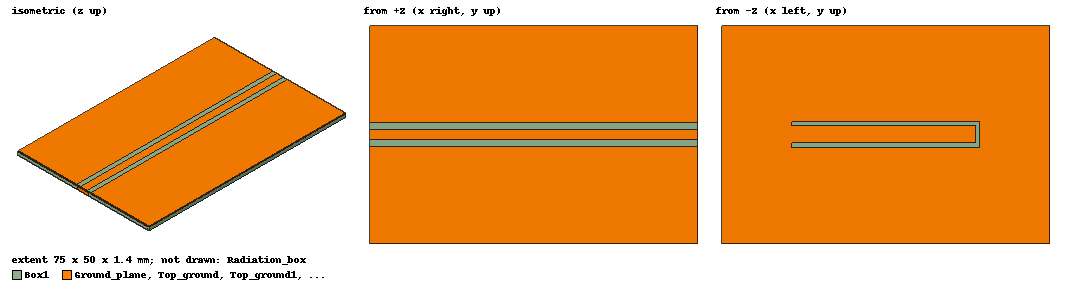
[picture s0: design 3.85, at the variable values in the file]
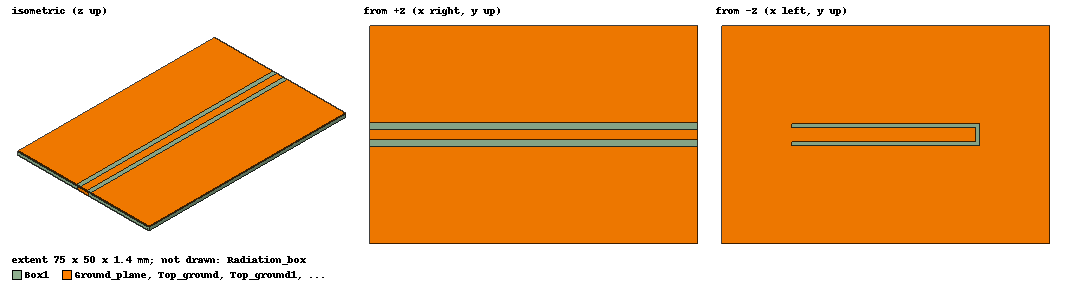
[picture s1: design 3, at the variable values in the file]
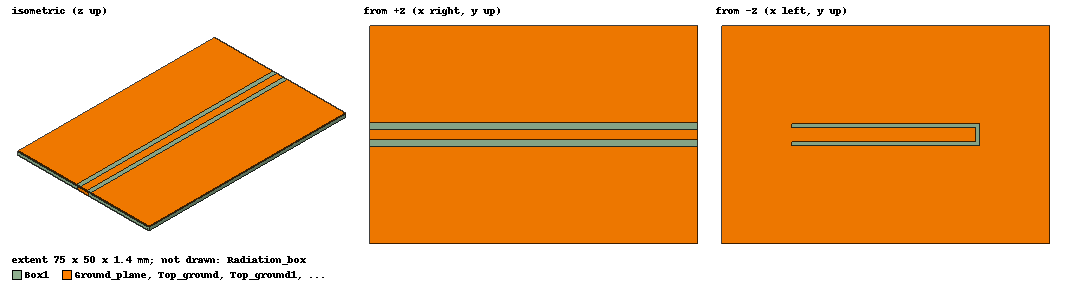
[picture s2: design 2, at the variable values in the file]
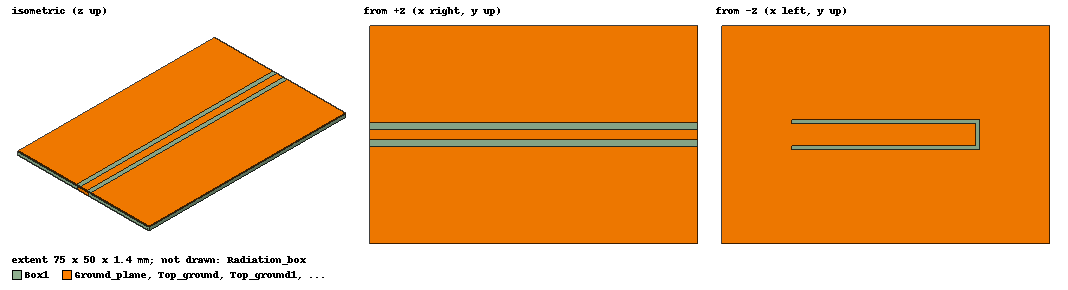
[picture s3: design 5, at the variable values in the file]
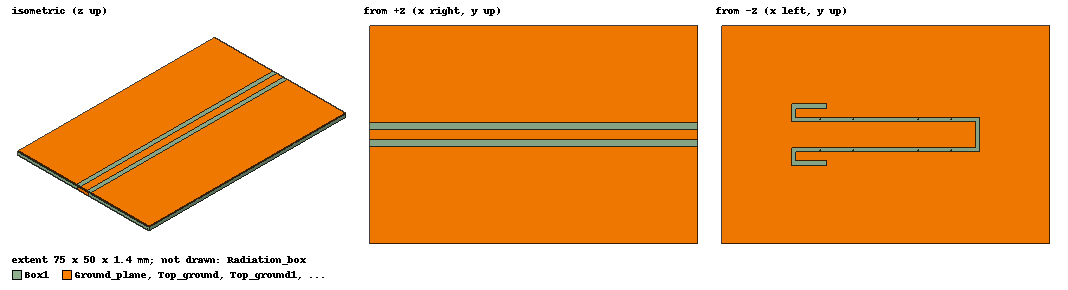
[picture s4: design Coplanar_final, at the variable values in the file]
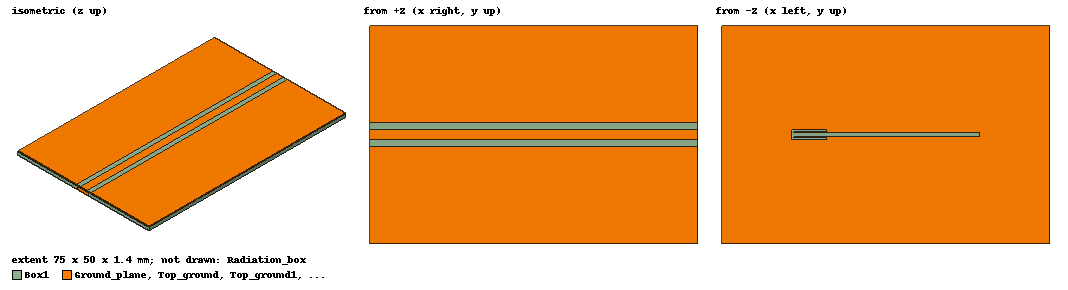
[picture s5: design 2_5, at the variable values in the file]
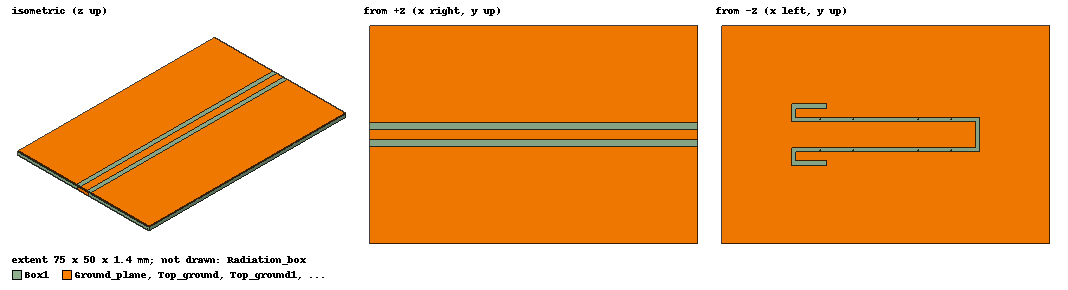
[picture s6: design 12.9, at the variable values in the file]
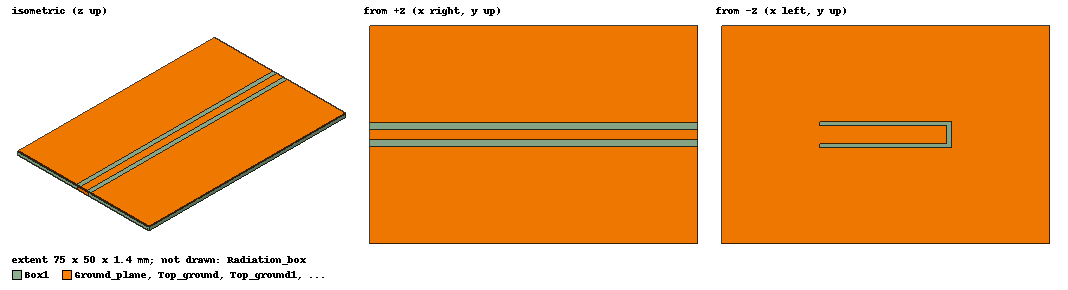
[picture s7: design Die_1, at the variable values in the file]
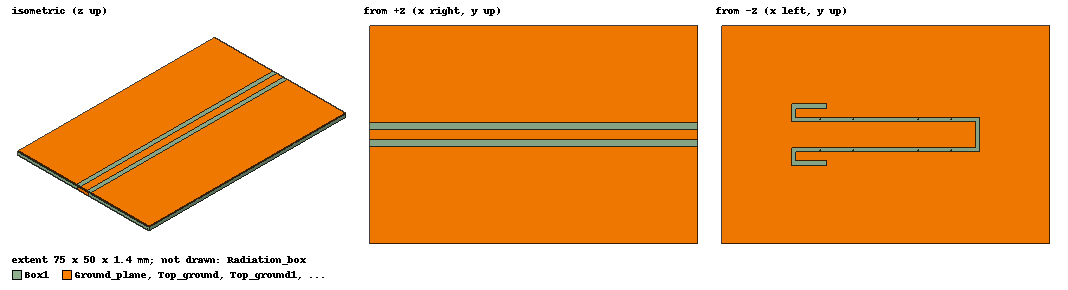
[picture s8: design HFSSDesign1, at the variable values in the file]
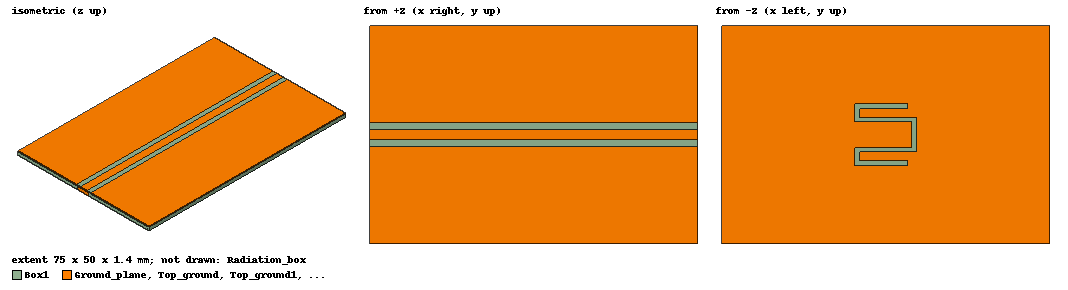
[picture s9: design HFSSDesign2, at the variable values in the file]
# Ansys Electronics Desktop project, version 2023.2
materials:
  vacuum: permittivity=1
  FR4_epoxy: permittivity=4.4 dielectric_loss_tangent=0.02
  air: permittivity=1.0006 permeability=1.0000004
  copper: permeability=0.999991 conductivity=58000000
  gallium_arsenide: permittivity=12.9
  aluminum: permeability=1.000021 conductivity=38000000
  Teflon (tm): permittivity=2.1 dielectric_loss_tangent=0.001
  Polyflon CuFlon (tm): permittivity=2.1 dielectric_loss_tangent=0.00045
  Arlon AD255C (tm): permittivity=2.55 dielectric_loss_tangent=0.0014
  Rogers RO3203 (tm): permittivity=3.02 dielectric_loss_tangent=0.0016
  Rogers RT/duroid 6006 (tm): permittivity=6.15 dielectric_loss_tangent=0.0019
  Rogers TMM 10 (tm): permittivity=9.2 dielectric_loss_tangent=0.0022
  NdFe35: permittivity=1 permeability=1.0997785 conductivity=625000 magnetic_coercivity{Magnitude=-890000A_per_meter DirComp1=1 DirComp2=0 DirComp3=0} lande_g_factor=2
  Rogers RT/duroid 6010/6010LM (tm): permittivity=10.2 dielectric_loss_tangent=0.0023
  silicon: permittivity=11.9
  diamond: permittivity=16.5

design 3.85 (HFSS, HFSS Terminal Network, model units mm)
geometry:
  Box1 [FR4_epoxy] = box(corner=(-37.5mm, -25mm, 0mm), size=(75mm, 50mm, 1.4mm))
  Microstrip_line = rectangle(corner=(-37.5mm, -1.25mm, 1.4mm), x_size=75mm, y_size=2.5mm)
  Top_ground = rectangle(corner=(-37.5mm, -25mm, 1.4mm), x_size=75mm, y_size=22.25mm)
  Top_ground1 = rectangle(corner=(-37.5mm, 2.75mm, 1.4mm), x_size=75mm, y_size=22.25mm)
  Ground_plane = rectangle(corner=(-37.5mm, -25mm, 0mm), x_size=75mm, y_size=50mm)
  Rectangle1 = rectangle(corner=(-21.5mm, -1.9mm, 0mm), x_size=43mm, y_size=-1mm)
  Rectangle2 = rectangle(corner=(-21.5mm, 1.95mm, 0mm), x_size=43mm, y_size=1mm)
  Rectangle3 = rectangle(corner=(-21.5mm, -1.95mm, 0mm), x_size=1mm, y_size=3.9mm)
  Ground_plane.subtract(Rectangle1, Rectangle2, Rectangle3)
  Radiation_box [air] = box(corner=(-60mm, -45mm, -10mm), size=(125mm, 90mm, 35mm))
  Via0 [copper] = cylinder(axis=Z, base_centre=(-7.5mm, 3.5mm, 0mm), radius=0.1mm, height=1.4mm)
  Via1 [copper] = cylinder(axis=Z, base_centre=(-7.5mm, -3.5mm, 0mm), radius=0.1mm, height=1.4mm)
  Via2 [copper] = cylinder(axis=Z, base_centre=(-15mm, 3.5mm, 0mm), radius=0.1mm, height=1.4mm)
  Via3 [copper] = cylinder(axis=Z, base_centre=(-15mm, -3.5mm, 0mm), radius=0.1mm, height=1.4mm)
  Via4 [copper] = cylinder(axis=Z, base_centre=(-22.5mm, 3.5mm, 0mm), radius=0.1mm, height=1.4mm)
  Via5 [copper] = cylinder(axis=Z, base_centre=(-22.5mm, -3.5mm, 0mm), radius=0.1mm, height=1.4mm)
  Via6 [copper] = cylinder(axis=Z, base_centre=(-30mm, 3.5mm, 0mm), radius=0.1mm, height=1.4mm)
  Via7 [copper] = cylinder(axis=Z, base_centre=(-30mm, -3.5mm, 0mm), radius=0.1mm, height=1.4mm)
  Via8 [copper] = cylinder(axis=Z, base_centre=(0mm, 3.5mm, 0mm), radius=0.1mm, height=1.4mm)
  Via9 [copper] = cylinder(axis=Z, base_centre=(0mm, -3.5mm, 0mm), radius=0.1mm, height=1.4mm)
  Via10 [copper] = cylinder(axis=Z, base_centre=(7.5mm, 3.5mm, 0mm), radius=0.1mm, height=1.4mm)
  Via11 [copper] = cylinder(axis=Z, base_centre=(7.5mm, -3.5mm, 0mm), radius=0.1mm, height=1.4mm)
  Via12 [copper] = cylinder(axis=Z, base_centre=(15mm, 3.5mm, 0mm), radius=0.1mm, height=1.4mm)
  Via13 [copper] = cylinder(axis=Z, base_centre=(15mm, -3.5mm, 0mm), radius=0.1mm, height=1.4mm)
  Via14 [copper] = cylinder(axis=Z, base_centre=(22.5mm, 3.5mm, 0mm), radius=0.1mm, height=1.4mm)
  Via15 [copper] = cylinder(axis=Z, base_centre=(22.5mm, -3.5mm, 0mm), radius=0.1mm, height=1.4mm)
  Via16 [copper] = cylinder(axis=Z, base_centre=(30mm, 3.5mm, 0mm), radius=0.1mm, height=1.4mm)
  Via17 [copper] = cylinder(axis=Z, base_centre=(30mm, -3.5mm, 0mm), radius=0.1mm, height=1.4mm)
  Port1 = rectangle(corner=(-37.5mm, -2mm, 1.4mm), y_size=4mm, z_size=-1.4mm)
  Port2 = rectangle(corner=(37.5mm, -2mm, 1.4mm), y_size=4mm, z_size=-1.4mm)
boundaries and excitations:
  PerfE1: Perfect E Objects=Ground_plane
  PerfE2: Perfect E Objects=[Microstrip_line, Top_ground, Top_ground1]
  Rad1: Radiation Objects=Radiation_box
  1: Lumped Port Objects=Port1 LumpedPortType=Modal Modes{Mode1{IntLine{(-37.5, 0, 0) -> (-37.5, 0, 1.4)} CharImp=Zpi RenormImp=50ohm}} Impedance=50ohm
  2: Lumped Port Objects=Port2 LumpedPortType=Modal Modes{Mode1{IntLine{(37.5, 0, 0) -> (37.5, 0, 1.4)} CharImp=Zpi RenormImp=50ohm}} Impedance=50ohm
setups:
  Setup1: HfssDriven Frequency=1GHz MaxDeltaS=0.02 MaximumPasses=6 MinimumPasses=1 MinimumConvergedPasses=1 PercentRefinement=30 BasisOrder=1 PortAccuracy=2 DrivenSolverType="Direct Solver"
    sweep Sweep: 0.1GHz to 1.5GHz, 901 points; Type=Fast SaveFields
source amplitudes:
  1:1: 1V 0deg
  2:1: 0V 0deg
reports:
  S Parameter Plot 1: dB(S(1,1)), dB(S(2,1)), dB(S(1,2)), dB(S(2,2)) vs Freq on Setup1 : Sweep; markers m1 at 0.96644444GHz, m2 at 1.0831111GHz

design 3 (HFSS, HFSS Terminal Network, model units mm)
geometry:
  Box1 [FR4_epoxy] = box(corner=(-37.5mm, -25mm, 0mm), size=(75mm, 50mm, 1.4mm))
  Microstrip_line = rectangle(corner=(-37.5mm, -1.25mm, 1.4mm), x_size=75mm, y_size=2.5mm)
  Top_ground = rectangle(corner=(-37.5mm, -25mm, 1.4mm), x_size=75mm, y_size=22.25mm)
  Top_ground1 = rectangle(corner=(-37.5mm, 2.75mm, 1.4mm), x_size=75mm, y_size=22.25mm)
  Ground_plane = rectangle(corner=(-37.5mm, -25mm, 0mm), x_size=75mm, y_size=50mm)
  Rectangle1 = rectangle(corner=(-21.5mm, -1.5mm, 0mm), x_size=43mm, y_size=-1mm)
  Rectangle2 = rectangle(corner=(-21.5mm, 1.5mm, 0mm), x_size=43mm, y_size=1mm)
  Rectangle3 = rectangle(corner=(-21.5mm, -1.5mm, 0mm), x_size=1mm, y_size=3mm)
  Ground_plane.subtract(Rectangle1, Rectangle2, Rectangle3)
  Radiation_box [air] = box(corner=(-60mm, -45mm, -10mm), size=(125mm, 90mm, 35mm))
  Via0 [copper] = cylinder(axis=Z, base_centre=(-7.5mm, 3.5mm, 0mm), radius=0.1mm, height=1.4mm)
  Via1 [copper] = cylinder(axis=Z, base_centre=(-7.5mm, -3.5mm, 0mm), radius=0.1mm, height=1.4mm)
  Via2 [copper] = cylinder(axis=Z, base_centre=(-15mm, 3.5mm, 0mm), radius=0.1mm, height=1.4mm)
  Via3 [copper] = cylinder(axis=Z, base_centre=(-15mm, -3.5mm, 0mm), radius=0.1mm, height=1.4mm)
  Via4 [copper] = cylinder(axis=Z, base_centre=(-22.5mm, 3.5mm, 0mm), radius=0.1mm, height=1.4mm)
  Via5 [copper] = cylinder(axis=Z, base_centre=(-22.5mm, -3.5mm, 0mm), radius=0.1mm, height=1.4mm)
  Via6 [copper] = cylinder(axis=Z, base_centre=(-30mm, 3.5mm, 0mm), radius=0.1mm, height=1.4mm)
  Via7 [copper] = cylinder(axis=Z, base_centre=(-30mm, -3.5mm, 0mm), radius=0.1mm, height=1.4mm)
  Via8 [copper] = cylinder(axis=Z, base_centre=(0mm, 3.5mm, 0mm), radius=0.1mm, height=1.4mm)
  Via9 [copper] = cylinder(axis=Z, base_centre=(0mm, -3.5mm, 0mm), radius=0.1mm, height=1.4mm)
  Via10 [copper] = cylinder(axis=Z, base_centre=(7.5mm, 3.5mm, 0mm), radius=0.1mm, height=1.4mm)
  Via11 [copper] = cylinder(axis=Z, base_centre=(7.5mm, -3.5mm, 0mm), radius=0.1mm, height=1.4mm)
  Via12 [copper] = cylinder(axis=Z, base_centre=(15mm, 3.5mm, 0mm), radius=0.1mm, height=1.4mm)
  Via13 [copper] = cylinder(axis=Z, base_centre=(15mm, -3.5mm, 0mm), radius=0.1mm, height=1.4mm)
  Via14 [copper] = cylinder(axis=Z, base_centre=(22.5mm, 3.5mm, 0mm), radius=0.1mm, height=1.4mm)
  Via15 [copper] = cylinder(axis=Z, base_centre=(22.5mm, -3.5mm, 0mm), radius=0.1mm, height=1.4mm)
  Via16 [copper] = cylinder(axis=Z, base_centre=(30mm, 3.5mm, 0mm), radius=0.1mm, height=1.4mm)
  Via17 [copper] = cylinder(axis=Z, base_centre=(30mm, -3.5mm, 0mm), radius=0.1mm, height=1.4mm)
  Port1 = rectangle(corner=(-37.5mm, -2mm, 1.4mm), y_size=4mm, z_size=-1.4mm)
  Port2 = rectangle(corner=(37.5mm, -2mm, 1.4mm), y_size=4mm, z_size=-1.4mm)
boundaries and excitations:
  PerfE1: Perfect E Objects=Ground_plane
  PerfE2: Perfect E Objects=[Microstrip_line, Top_ground, Top_ground1]
  Rad1: Radiation Objects=Radiation_box
  1: Lumped Port Objects=Port1 LumpedPortType=Modal Modes{Mode1{IntLine{(-37.5, 0, 0) -> (-37.5, 0, 1.4)} CharImp=Zpi RenormImp=50ohm}} Impedance=50ohm
  2: Lumped Port Objects=Port2 LumpedPortType=Modal Modes{Mode1{IntLine{(37.5, 0, 0) -> (37.5, 0, 1.4)} CharImp=Zpi RenormImp=50ohm}} Impedance=50ohm
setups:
  Setup1: HfssDriven Frequency=1GHz MaxDeltaS=0.02 MaximumPasses=6 MinimumPasses=1 MinimumConvergedPasses=1 PercentRefinement=30 BasisOrder=1 PortAccuracy=2 DrivenSolverType="Direct Solver"
    sweep Sweep: 0.1GHz to 1.5GHz, 901 points; Type=Fast SaveFields
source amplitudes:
  1:1: 1V 0deg
  2:1: 0V 0deg
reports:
  S Parameter Plot 1: dB(S(1,1)), dB(S(2,1)), dB(S(1,2)), dB(S(2,2)) vs Freq on Setup1 : Sweep; markers m1 at 0.98044444GHz, m2 at 1.0877778GHz

design 2 (HFSS, HFSS Terminal Network, model units mm)
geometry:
  Box1 [FR4_epoxy] = box(corner=(-37.5mm, -25mm, 0mm), size=(75mm, 50mm, 1.4mm))
  Ground_plane = rectangle(corner=(-37.5mm, -25mm, 0mm), x_size=75mm, y_size=50mm)
  Rectangle1 = rectangle(corner=(-21.5mm, -1.5mm, 0mm), x_size=43mm, y_size=-1mm)
  Rectangle2 = rectangle(corner=(-21.5mm, 1.5mm, 0mm), x_size=43mm, y_size=1mm)
  Rectangle3 = rectangle(corner=(-21.5mm, -1.5mm, 0mm), x_size=1mm, y_size=3mm)
  Ground_plane.subtract(Rectangle1, Rectangle2, Rectangle3)
  Radiation_box [air] = box(corner=(-60mm, -45mm, -10mm), size=(125mm, 90mm, 35mm))
  Via0 [copper] = cylinder(axis=Z, base_centre=(-7.5mm, 3.5mm, 0mm), radius=0.1mm, height=1.4mm)
  Via1 [copper] = cylinder(axis=Z, base_centre=(-7.5mm, -3.5mm, 0mm), radius=0.1mm, height=1.4mm)
  Via2 [copper] = cylinder(axis=Z, base_centre=(-15mm, 3.5mm, 0mm), radius=0.1mm, height=1.4mm)
  Via3 [copper] = cylinder(axis=Z, base_centre=(-15mm, -3.5mm, 0mm), radius=0.1mm, height=1.4mm)
  Via4 [copper] = cylinder(axis=Z, base_centre=(-22.5mm, 3.5mm, 0mm), radius=0.1mm, height=1.4mm)
  Via5 [copper] = cylinder(axis=Z, base_centre=(-22.5mm, -3.5mm, 0mm), radius=0.1mm, height=1.4mm)
  Via6 [copper] = cylinder(axis=Z, base_centre=(-30mm, 3.5mm, 0mm), radius=0.1mm, height=1.4mm)
  Via7 [copper] = cylinder(axis=Z, base_centre=(-30mm, -3.5mm, 0mm), radius=0.1mm, height=1.4mm)
  Via8 [copper] = cylinder(axis=Z, base_centre=(0mm, 3.5mm, 0mm), radius=0.1mm, height=1.4mm)
  Via9 [copper] = cylinder(axis=Z, base_centre=(0mm, -3.5mm, 0mm), radius=0.1mm, height=1.4mm)
  Via10 [copper] = cylinder(axis=Z, base_centre=(7.5mm, 3.5mm, 0mm), radius=0.1mm, height=1.4mm)
  Via11 [copper] = cylinder(axis=Z, base_centre=(7.5mm, -3.5mm, 0mm), radius=0.1mm, height=1.4mm)
  Via12 [copper] = cylinder(axis=Z, base_centre=(15mm, 3.5mm, 0mm), radius=0.1mm, height=1.4mm)
  Via13 [copper] = cylinder(axis=Z, base_centre=(15mm, -3.5mm, 0mm), radius=0.1mm, height=1.4mm)
  Via14 [copper] = cylinder(axis=Z, base_centre=(22.5mm, 3.5mm, 0mm), radius=0.1mm, height=1.4mm)
  Via15 [copper] = cylinder(axis=Z, base_centre=(22.5mm, -3.5mm, 0mm), radius=0.1mm, height=1.4mm)
  Via16 [copper] = cylinder(axis=Z, base_centre=(30mm, 3.5mm, 0mm), radius=0.1mm, height=1.4mm)
  Via17 [copper] = cylinder(axis=Z, base_centre=(30mm, -3.5mm, 0mm), radius=0.1mm, height=1.4mm)
  Microstrip_line = rectangle(corner=(-37.5mm, -1.25mm, 1.4mm), x_size=75mm, y_size=2.5mm)
  Top_ground = rectangle(corner=(-37.5mm, -25mm, 1.4mm), x_size=75mm, y_size=22.25mm)
  Top_ground1 = rectangle(corner=(-37.5mm, 2.75mm, 1.4mm), x_size=75mm, y_size=22.25mm)
  Port1 = rectangle(corner=(-37.5mm, -2mm, 1.4mm), y_size=4mm, z_size=-1.4mm)
  Port2 = rectangle(corner=(37.5mm, -2mm, 1.4mm), y_size=4mm, z_size=-1.4mm)
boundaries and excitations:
  PerfE1: Perfect E Objects=Ground_plane
  Rad1: Radiation Objects=Radiation_box
  PerfE2: Perfect E Objects=[Microstrip_line, Top_ground, Top_ground1]
  1: Lumped Port Objects=Port1 LumpedPortType=Modal Modes{Mode1{IntLine{(-37.5, 0, 0) -> (-37.5, 0, 1.4)} CharImp=Zpi RenormImp=50ohm}} Impedance=50ohm
  2: Lumped Port Objects=Port2 LumpedPortType=Modal Modes{Mode1{IntLine{(37.5, 0, 0) -> (37.5, 0, 1.4)} CharImp=Zpi RenormImp=50ohm}} Impedance=50ohm
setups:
  Setup1: HfssDriven Frequency=1GHz MaxDeltaS=0.02 MaximumPasses=6 MinimumPasses=1 MinimumConvergedPasses=1 PercentRefinement=30 BasisOrder=1 PortAccuracy=2 DrivenSolverType="Direct Solver"
    sweep Sweep: 0.1GHz to 1.5GHz, 901 points; Type=Fast SaveFields
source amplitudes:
  1:1: 1V 0deg
  2:1: 0V 0deg
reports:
  S Parameter Plot 1: dB(S(1,1)), dB(S(2,1)), dB(S(1,2)), dB(S(2,2)) vs Freq on Setup1 : Sweep; markers m1 at 0.97888889GHz, m2 at 1.0862222GHz

design 5 (HFSS, HFSS Terminal Network, model units mm)
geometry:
  Box1 [FR4_epoxy] = box(corner=(-37.5mm, -25mm, 0mm), size=(75mm, 50mm, 1.4mm))
  Via0 [copper] = cylinder(axis=Z, base_centre=(-7.5mm, 3.5mm, 0mm), radius=0.1mm, height=1.4mm)
  Via1 [copper] = cylinder(axis=Z, base_centre=(-7.5mm, -3.5mm, 0mm), radius=0.1mm, height=1.4mm)
  Via2 [copper] = cylinder(axis=Z, base_centre=(-15mm, 3.5mm, 0mm), radius=0.1mm, height=1.4mm)
  Via3 [copper] = cylinder(axis=Z, base_centre=(-15mm, -3.5mm, 0mm), radius=0.1mm, height=1.4mm)
  Via4 [copper] = cylinder(axis=Z, base_centre=(-22.5mm, 3.5mm, 0mm), radius=0.1mm, height=1.4mm)
  Via5 [copper] = cylinder(axis=Z, base_centre=(-22.5mm, -3.5mm, 0mm), radius=0.1mm, height=1.4mm)
  Via6 [copper] = cylinder(axis=Z, base_centre=(-30mm, 3.5mm, 0mm), radius=0.1mm, height=1.4mm)
  Via7 [copper] = cylinder(axis=Z, base_centre=(-30mm, -3.5mm, 0mm), radius=0.1mm, height=1.4mm)
  Via8 [copper] = cylinder(axis=Z, base_centre=(0mm, 3.5mm, 0mm), radius=0.1mm, height=1.4mm)
  Via9 [copper] = cylinder(axis=Z, base_centre=(0mm, -3.5mm, 0mm), radius=0.1mm, height=1.4mm)
  Via10 [copper] = cylinder(axis=Z, base_centre=(7.5mm, 3.5mm, 0mm), radius=0.1mm, height=1.4mm)
  Via11 [copper] = cylinder(axis=Z, base_centre=(7.5mm, -3.5mm, 0mm), radius=0.1mm, height=1.4mm)
  Via12 [copper] = cylinder(axis=Z, base_centre=(15mm, 3.5mm, 0mm), radius=0.1mm, height=1.4mm)
  Via13 [copper] = cylinder(axis=Z, base_centre=(15mm, -3.5mm, 0mm), radius=0.1mm, height=1.4mm)
  Via14 [copper] = cylinder(axis=Z, base_centre=(22.5mm, 3.5mm, 0mm), radius=0.1mm, height=1.4mm)
  Via15 [copper] = cylinder(axis=Z, base_centre=(22.5mm, -3.5mm, 0mm), radius=0.1mm, height=1.4mm)
  Via16 [copper] = cylinder(axis=Z, base_centre=(30mm, 3.5mm, 0mm), radius=0.1mm, height=1.4mm)
  Via17 [copper] = cylinder(axis=Z, base_centre=(30mm, -3.5mm, 0mm), radius=0.1mm, height=1.4mm)
  Radiation_box [air] = box(corner=(-60mm, -45mm, -10mm), size=(125mm, 90mm, 35mm))
  Ground_plane = rectangle(corner=(-37.5mm, -25mm, 0mm), x_size=75mm, y_size=50mm)
  Rectangle1 = rectangle(corner=(-21.5mm, -2.5mm, 0mm), x_size=43mm, y_size=-1mm)
  Rectangle2 = rectangle(corner=(-21.5mm, 2.5mm, 0mm), x_size=43mm, y_size=1mm)
  Rectangle3 = rectangle(corner=(-21.5mm, -2.5mm, 0mm), x_size=1mm, y_size=5mm)
  Ground_plane.subtract(Rectangle1, Rectangle2, Rectangle3)
  Microstrip_line = rectangle(corner=(-37.5mm, -1.25mm, 1.4mm), x_size=75mm, y_size=2.5mm)
  Top_ground = rectangle(corner=(-37.5mm, -25mm, 1.4mm), x_size=75mm, y_size=22.25mm)
  Top_ground1 = rectangle(corner=(-37.5mm, 2.75mm, 1.4mm), x_size=75mm, y_size=22.25mm)
  Port1 = rectangle(corner=(-37.5mm, -2mm, 1.4mm), y_size=4mm, z_size=-1.4mm)
  Port2 = rectangle(corner=(37.5mm, -2mm, 1.4mm), y_size=4mm, z_size=-1.4mm)
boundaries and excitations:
  Rad1: Radiation Objects=Radiation_box
  PerfE1: Perfect E Objects=Ground_plane
  PerfE2: Perfect E Objects=[Microstrip_line, Top_ground, Top_ground1]
  1: Lumped Port Objects=Port1 LumpedPortType=Modal Modes{Mode1{IntLine{(-37.5, 0, 0) -> (-37.5, 0, 1.4)} CharImp=Zpi RenormImp=50ohm}} Impedance=50ohm
  2: Lumped Port Objects=Port2 LumpedPortType=Modal Modes{Mode1{IntLine{(37.5, 0, 0) -> (37.5, 0, 1.4)} CharImp=Zpi RenormImp=50ohm}} Impedance=50ohm
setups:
  Setup1: HfssDriven Frequency=1GHz MaxDeltaS=0.02 MaximumPasses=6 MinimumPasses=1 MinimumConvergedPasses=1 PercentRefinement=30 BasisOrder=1 PortAccuracy=2 DrivenSolverType="Direct Solver"
    sweep Sweep: 0.1GHz to 1.5GHz, 901 points; Type=Fast SaveFields
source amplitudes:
  1:1: 1V 0deg
  2:1: 0V 0deg
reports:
  S Parameter Plot 1: dB(S(1,1)), dB(S(2,1)), dB(S(1,2)), dB(S(2,2)) vs Freq on Setup1 : Sweep; markers m1 at 0.94622222GHz, m2 at 1.052GHz

design Coplanar_final (HFSS, HFSS Terminal Network, model units mm)
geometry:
  Ground_plane = rectangle(corner=(-37.5mm, -25mm, 0mm), x_size=75mm, y_size=50mm)
  Rectangle1 = rectangle(corner=(-21.5mm, -3mm, 0mm), x_size=43mm, y_size=-1mm)
  Rectangle2 = rectangle(corner=(-21.5mm, 3mm, 0mm), x_size=43mm, y_size=1mm)
  Rectangle3 = rectangle(corner=(-21.5mm, -3mm, 0mm), x_size=1mm, y_size=6mm)
  Ground_plane.subtract(Rectangle1, Rectangle2, Rectangle3)
  Microstrip_line = rectangle(corner=(-37.5mm, -1.25mm, 1.4mm), x_size=75mm, y_size=2.5mm)
  Top_ground = rectangle(corner=(-37.5mm, -25mm, 1.4mm), x_size=75mm, y_size=22.25mm)
  Top_ground1 = rectangle(corner=(-37.5mm, 2.75mm, 1.4mm), x_size=75mm, y_size=22.25mm)
  Port1 = rectangle(corner=(-37.5mm, -2mm, 1.4mm), y_size=4mm, z_size=-1.4mm)
  Port2 = rectangle(corner=(37.5mm, -2mm, 1.4mm), y_size=4mm, z_size=-1.4mm)
  Box1 [FR4_epoxy] = box(corner=(-37.5mm, -25mm, 0mm), size=(75mm, 50mm, 1.4mm))
  Via0 [copper] = cylinder(axis=Z, base_centre=(-7.5mm, 3.5mm, 0mm), radius=0.1mm, height=1.4mm)
  Via1 [copper] = cylinder(axis=Z, base_centre=(-7.5mm, -3.5mm, 0mm), radius=0.1mm, height=1.4mm)
  Via2 [copper] = cylinder(axis=Z, base_centre=(-15mm, 3.5mm, 0mm), radius=0.1mm, height=1.4mm)
  Via3 [copper] = cylinder(axis=Z, base_centre=(-15mm, -3.5mm, 0mm), radius=0.1mm, height=1.4mm)
  Via4 [copper] = cylinder(axis=Z, base_centre=(-22.5mm, 3.5mm, 0mm), radius=0.1mm, height=1.4mm)
  Via5 [copper] = cylinder(axis=Z, base_centre=(-22.5mm, -3.5mm, 0mm), radius=0.1mm, height=1.4mm)
  Via6 [copper] = cylinder(axis=Z, base_centre=(-30mm, 3.5mm, 0mm), radius=0.1mm, height=1.4mm)
  Via7 [copper] = cylinder(axis=Z, base_centre=(-30mm, -3.5mm, 0mm), radius=0.1mm, height=1.4mm)
  Via8 [copper] = cylinder(axis=Z, base_centre=(0mm, 3.5mm, 0mm), radius=0.1mm, height=1.4mm)
  Via9 [copper] = cylinder(axis=Z, base_centre=(0mm, -3.5mm, 0mm), radius=0.1mm, height=1.4mm)
  Via10 [copper] = cylinder(axis=Z, base_centre=(7.5mm, 3.5mm, 0mm), radius=0.1mm, height=1.4mm)
  Via11 [copper] = cylinder(axis=Z, base_centre=(7.5mm, -3.5mm, 0mm), radius=0.1mm, height=1.4mm)
  Via12 [copper] = cylinder(axis=Z, base_centre=(15mm, 3.5mm, 0mm), radius=0.1mm, height=1.4mm)
  Via13 [copper] = cylinder(axis=Z, base_centre=(15mm, -3.5mm, 0mm), radius=0.1mm, height=1.4mm)
  Via14 [copper] = cylinder(axis=Z, base_centre=(22.5mm, 3.5mm, 0mm), radius=0.1mm, height=1.4mm)
  Via15 [copper] = cylinder(axis=Z, base_centre=(22.5mm, -3.5mm, 0mm), radius=0.1mm, height=1.4mm)
  Via16 [copper] = cylinder(axis=Z, base_centre=(30mm, 3.5mm, 0mm), radius=0.1mm, height=1.4mm)
  Via17 [copper] = cylinder(axis=Z, base_centre=(30mm, -3.5mm, 0mm), radius=0.1mm, height=1.4mm)
  Radiation_box [air] = box(corner=(-60mm, -45mm, -10mm), size=(125mm, 90mm, 35mm))
  Rectangle4 = rectangle(corner=(21.5mm, -4mm, 0mm), x_size=-1mm, y_size=-2mm)
  Rectangle5 = rectangle(corner=(21.5mm, 4mm, 0mm), x_size=-1mm, y_size=2mm)
  Rectangle6 = rectangle(corner=(21.5mm, -6mm, 0mm), x_size=-8mm, y_size=-1mm)
  Rectangle7 = rectangle(corner=(21.5mm, 6mm, 0mm), x_size=-8mm, y_size=1mm)
  Ground_plane.subtract(Rectangle4..Rectangle7)
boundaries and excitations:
  PerfE1: Perfect E Objects=Ground_plane
  PerfE2: Perfect E Objects=[Microstrip_line, Top_ground, Top_ground1]
  Rad1: Radiation Objects=Radiation_box
  1: Lumped Port Objects=Port1 LumpedPortType=Modal Modes{Mode1{IntLine{(-37.5, 0, 0) -> (-37.5, 0, 1.4)} CharImp=Zpi RenormImp=50ohm}} Impedance=50ohm
  2: Lumped Port Objects=Port2 LumpedPortType=Modal Modes{Mode1{IntLine{(37.5, 0, 0) -> (37.5, 0, 1.4)} CharImp=Zpi RenormImp=50ohm}} Impedance=50ohm
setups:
  Setup1: HfssDriven Frequency=1GHz MaxDeltaS=0.02 MaximumPasses=6 MinimumPasses=1 MinimumConvergedPasses=1 PercentRefinement=30 BasisOrder=1 PortAccuracy=2 DrivenSolverType="Direct Solver"
    sweep Sweep: 0.1GHz to 1.5GHz, 401 points; Type=Fast SaveFields
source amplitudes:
  1:1: 1V 0deg
  2:1: 0V 0deg
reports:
  S Parameter Plot 1: dB(S(1,1)), dB(S(2,1)), dB(S(1,2)), dB(S(2,2)) vs Freq on Setup1 : Sweep; markers m1 at 0.513GHz, m2 at 0.891GHz, m3 at 0.9365GHz, m4 at 0.982GHz, m5 at 1.4055GHz

design 2_5 (HFSS, HFSS Terminal Network, model units mm)
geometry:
  Ground_plane = rectangle(corner=(-37.5mm, -25mm, 0mm), x_size=75mm, y_size=50mm)
  Rectangle1 = rectangle(corner=(-21.5mm, -0.1mm, 0mm), x_size=43mm, y_size=-0.4mm)
  Rectangle2 = rectangle(corner=(-21.5mm, 0.1mm, 0mm), x_size=43mm, y_size=0.4mm)
  Rectangle3 = rectangle(corner=(-21.5mm, -0.1mm, 0mm), x_size=0.4mm, y_size=0.2mm)
  Ground_plane.subtract(Rectangle1, Rectangle2, Rectangle3)
  Rectangle4 = rectangle(corner=(21.5mm, -0.5mm, 0mm), x_size=-0.4mm, y_size=-0.2mm)
  Rectangle5 = rectangle(corner=(21.5mm, 0.5mm, 0mm), x_size=-0.4mm, y_size=0.2mm)
  Rectangle6 = rectangle(corner=(21.5mm, -0.7mm, 0mm), x_size=-8mm, y_size=-0.4mm)
  Rectangle7 = rectangle(corner=(21.5mm, 0.7mm, 0mm), x_size=-8mm, y_size=0.4mm)
  Ground_plane.subtract(Rectangle4..Rectangle7)
  Microstrip_line = rectangle(corner=(-37.5mm, -1.25mm, 1.4mm), x_size=75mm, y_size=2.5mm)
  Top_ground = rectangle(corner=(-37.5mm, -25mm, 1.4mm), x_size=75mm, y_size=22.25mm)
  Top_ground1 = rectangle(corner=(-37.5mm, 2.75mm, 1.4mm), x_size=75mm, y_size=22.25mm)
  Port1 = rectangle(corner=(-37.5mm, -2mm, 1.4mm), y_size=4mm, z_size=-1.4mm)
  Port2 = rectangle(corner=(37.5mm, -2mm, 1.4mm), y_size=4mm, z_size=-1.4mm)
  Box1 [FR4_epoxy] = box(corner=(-37.5mm, -25mm, 0mm), size=(75mm, 50mm, 1.4mm))
  Via0 [copper] = cylinder(axis=Z, base_centre=(-7.5mm, 3.5mm, 0mm), radius=0.1mm, height=1.4mm)
  Via1 [copper] = cylinder(axis=Z, base_centre=(-7.5mm, -3.5mm, 0mm), radius=0.1mm, height=1.4mm)
  Via2 [copper] = cylinder(axis=Z, base_centre=(-15mm, 3.5mm, 0mm), radius=0.1mm, height=1.4mm)
  Via3 [copper] = cylinder(axis=Z, base_centre=(-15mm, -3.5mm, 0mm), radius=0.1mm, height=1.4mm)
  Via4 [copper] = cylinder(axis=Z, base_centre=(-22.5mm, 3.5mm, 0mm), radius=0.1mm, height=1.4mm)
  Via5 [copper] = cylinder(axis=Z, base_centre=(-22.5mm, -3.5mm, 0mm), radius=0.1mm, height=1.4mm)
  Via6 [copper] = cylinder(axis=Z, base_centre=(-30mm, 3.5mm, 0mm), radius=0.1mm, height=1.4mm)
  Via7 [copper] = cylinder(axis=Z, base_centre=(-30mm, -3.5mm, 0mm), radius=0.1mm, height=1.4mm)
  Via8 [copper] = cylinder(axis=Z, base_centre=(0mm, 3.5mm, 0mm), radius=0.1mm, height=1.4mm)
  Via9 [copper] = cylinder(axis=Z, base_centre=(0mm, -3.5mm, 0mm), radius=0.1mm, height=1.4mm)
  Via10 [copper] = cylinder(axis=Z, base_centre=(7.5mm, 3.5mm, 0mm), radius=0.1mm, height=1.4mm)
  Via11 [copper] = cylinder(axis=Z, base_centre=(7.5mm, -3.5mm, 0mm), radius=0.1mm, height=1.4mm)
  Via12 [copper] = cylinder(axis=Z, base_centre=(15mm, 3.5mm, 0mm), radius=0.1mm, height=1.4mm)
  Via13 [copper] = cylinder(axis=Z, base_centre=(15mm, -3.5mm, 0mm), radius=0.1mm, height=1.4mm)
  Via14 [copper] = cylinder(axis=Z, base_centre=(22.5mm, 3.5mm, 0mm), radius=0.1mm, height=1.4mm)
  Via15 [copper] = cylinder(axis=Z, base_centre=(22.5mm, -3.5mm, 0mm), radius=0.1mm, height=1.4mm)
  Via16 [copper] = cylinder(axis=Z, base_centre=(30mm, 3.5mm, 0mm), radius=0.1mm, height=1.4mm)
  Via17 [copper] = cylinder(axis=Z, base_centre=(30mm, -3.5mm, 0mm), radius=0.1mm, height=1.4mm)
  Radiation_box [air] = box(corner=(-60mm, -45mm, -10mm), size=(125mm, 90mm, 35mm))
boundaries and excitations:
  PerfE1: Perfect E Objects=Ground_plane
  PerfE2: Perfect E Objects=[Microstrip_line, Top_ground, Top_ground1]
  Rad1: Radiation Objects=Radiation_box
  1: Lumped Port Objects=Port1 LumpedPortType=Modal Modes{Mode1{IntLine{(-37.5, 0, 0) -> (-37.5, 0, 1.4)} CharImp=Zpi RenormImp=50ohm}} Impedance=50ohm
  2: Lumped Port Objects=Port2 LumpedPortType=Modal Modes{Mode1{IntLine{(37.5, 0, 0) -> (37.5, 0, 1.4)} CharImp=Zpi RenormImp=50ohm}} Impedance=50ohm
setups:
  Setup1: HfssDriven Frequency=1GHz MaxDeltaS=0.02 MaximumPasses=6 MinimumPasses=1 MinimumConvergedPasses=1 PercentRefinement=30 BasisOrder=1 PortAccuracy=2 DrivenSolverType="Direct Solver"
    sweep Sweep: 0.1GHz to 1.5GHz, 901 points; Type=Fast SaveFields
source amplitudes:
  1:1: 1V 0deg
  2:1: 0V 0deg
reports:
  S Parameter Plot 1: dB(S(1,1)), dB(S(2,1)), dB(S(1,2)), dB(S(2,2)) vs Freq on Setup1 : Sweep; markers m1 at 0.91822222GHz, m2 at 1.0208889GHz

design 12.9 (HFSS, HFSS Terminal Network, model units mm)
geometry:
  Ground_plane = rectangle(corner=(-37.5mm, -25mm, 0mm), x_size=75mm, y_size=50mm)
  Rectangle1 = rectangle(corner=(-21.5mm, -3mm, 0mm), x_size=43mm, y_size=-1mm)
  Rectangle2 = rectangle(corner=(-21.5mm, 3mm, 0mm), x_size=43mm, y_size=1mm)
  Rectangle3 = rectangle(corner=(-21.5mm, -3mm, 0mm), x_size=1mm, y_size=6mm)
  Ground_plane.subtract(Rectangle1, Rectangle2, Rectangle3)
  Rectangle4 = rectangle(corner=(21.5mm, -4mm, 0mm), x_size=-1mm, y_size=-2mm)
  Rectangle5 = rectangle(corner=(21.5mm, 4mm, 0mm), x_size=-1mm, y_size=2mm)
  Rectangle6 = rectangle(corner=(21.5mm, -6mm, 0mm), x_size=-8mm, y_size=-1mm)
  Rectangle7 = rectangle(corner=(21.5mm, 6mm, 0mm), x_size=-8mm, y_size=1mm)
  Ground_plane.subtract(Rectangle4..Rectangle7)
  Microstrip_line = rectangle(corner=(-37.5mm, -1.25mm, 1.4mm), x_size=75mm, y_size=2.5mm)
  Top_ground = rectangle(corner=(-37.5mm, -25mm, 1.4mm), x_size=75mm, y_size=22.25mm)
  Top_ground1 = rectangle(corner=(-37.5mm, 2.75mm, 1.4mm), x_size=75mm, y_size=22.25mm)
  Port1 = rectangle(corner=(-37.5mm, -2mm, 1.4mm), y_size=4mm, z_size=-1.4mm)
  Port2 = rectangle(corner=(37.5mm, -2mm, 1.4mm), y_size=4mm, z_size=-1.4mm)
  Box1 [gallium_arsenide] = box(corner=(-37.5mm, -25mm, 0mm), size=(75mm, 50mm, 1.4mm))
  Via0 [copper] = cylinder(axis=Z, base_centre=(-7.5mm, 3.5mm, 0mm), radius=0.1mm, height=1.4mm)
  Via1 [copper] = cylinder(axis=Z, base_centre=(-7.5mm, -3.5mm, 0mm), radius=0.1mm, height=1.4mm)
  Via2 [copper] = cylinder(axis=Z, base_centre=(-15mm, 3.5mm, 0mm), radius=0.1mm, height=1.4mm)
  Via3 [copper] = cylinder(axis=Z, base_centre=(-15mm, -3.5mm, 0mm), radius=0.1mm, height=1.4mm)
  Via4 [copper] = cylinder(axis=Z, base_centre=(-22.5mm, 3.5mm, 0mm), radius=0.1mm, height=1.4mm)
  Via5 [copper] = cylinder(axis=Z, base_centre=(-22.5mm, -3.5mm, 0mm), radius=0.1mm, height=1.4mm)
  Via6 [copper] = cylinder(axis=Z, base_centre=(-30mm, 3.5mm, 0mm), radius=0.1mm, height=1.4mm)
  Via7 [copper] = cylinder(axis=Z, base_centre=(-30mm, -3.5mm, 0mm), radius=0.1mm, height=1.4mm)
  Via8 [copper] = cylinder(axis=Z, base_centre=(0mm, 3.5mm, 0mm), radius=0.1mm, height=1.4mm)
  Via9 [copper] = cylinder(axis=Z, base_centre=(0mm, -3.5mm, 0mm), radius=0.1mm, height=1.4mm)
  Via10 [copper] = cylinder(axis=Z, base_centre=(7.5mm, 3.5mm, 0mm), radius=0.1mm, height=1.4mm)
  Via11 [copper] = cylinder(axis=Z, base_centre=(7.5mm, -3.5mm, 0mm), radius=0.1mm, height=1.4mm)
  Via12 [copper] = cylinder(axis=Z, base_centre=(15mm, 3.5mm, 0mm), radius=0.1mm, height=1.4mm)
  Via13 [copper] = cylinder(axis=Z, base_centre=(15mm, -3.5mm, 0mm), radius=0.1mm, height=1.4mm)
  Via14 [copper] = cylinder(axis=Z, base_centre=(22.5mm, 3.5mm, 0mm), radius=0.1mm, height=1.4mm)
  Via15 [copper] = cylinder(axis=Z, base_centre=(22.5mm, -3.5mm, 0mm), radius=0.1mm, height=1.4mm)
  Via16 [copper] = cylinder(axis=Z, base_centre=(30mm, 3.5mm, 0mm), radius=0.1mm, height=1.4mm)
  Via17 [copper] = cylinder(axis=Z, base_centre=(30mm, -3.5mm, 0mm), radius=0.1mm, height=1.4mm)
  Radiation_box [air] = box(corner=(-60mm, -45mm, -10mm), size=(125mm, 90mm, 35mm))
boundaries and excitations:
  PerfE1: Perfect E Objects=Ground_plane
  PerfE2: Perfect E Objects=[Microstrip_line, Top_ground, Top_ground1]
  Rad1: Radiation Objects=Radiation_box
  1: Lumped Port Objects=Port1 LumpedPortType=Modal Modes{Mode1{IntLine{(-37.5, 0, 0) -> (-37.5, 0, 1.4)} CharImp=Zpi RenormImp=50ohm}} Impedance=50ohm
  2: Lumped Port Objects=Port2 LumpedPortType=Modal Modes{Mode1{IntLine{(37.5, 0, 0) -> (37.5, 0, 1.4)} CharImp=Zpi RenormImp=50ohm}} Impedance=50ohm
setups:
  Setup1: HfssDriven Frequency=1GHz MaxDeltaS=0.02 MaximumPasses=6 MinimumPasses=1 MinimumConvergedPasses=1 PercentRefinement=30 BasisOrder=1 PortAccuracy=2 DrivenSolverType="Direct Solver"
    sweep Sweep: 0.1GHz to 1.5GHz, 901 points; Type=Fast SaveFields
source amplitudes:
  1:1: 1V 0deg
  2:1: 0V 0deg
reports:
  S Parameter Plot 1: dB(S(1,1)), dB(S(2,1)), dB(S(1,2)), dB(S(2,2)) vs Freq on Setup1 : Sweep; markers m1 at 0.55733333GHz, m2 at 0.60866667GHz, m3 at 0.58222222GHz

design Die_1 (HFSS, HFSS Terminal Network, model units mm)
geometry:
  Ground_plane = rectangle(corner=(-37.5mm, -25mm, 0mm), x_size=75mm, y_size=50mm)
  Rectangle1 = rectangle(corner=(-15mm, -2mm, 0mm), x_size=30mm, y_size=-1mm)
  Rectangle2 = rectangle(corner=(-15mm, 2mm, 0mm), x_size=30mm, y_size=1mm)
  Rectangle3 = rectangle(corner=(-15mm, -2mm, 0mm), x_size=1mm, y_size=4mm)
  Ground_plane.subtract(Rectangle1, Rectangle2, Rectangle3)
  Microstrip_line = rectangle(corner=(-37.5mm, -1.25mm, 1.4mm), x_size=75mm, y_size=2.5mm)
  Top_ground = rectangle(corner=(-37.5mm, -25mm, 1.4mm), x_size=75mm, y_size=22.25mm)
  Top_ground1 = rectangle(corner=(-37.5mm, 2.75mm, 1.4mm), x_size=75mm, y_size=22.25mm)
  Port1 = rectangle(corner=(-37.5mm, -2mm, 1.4mm), y_size=4mm, z_size=-1.4mm)
  Port2 = rectangle(corner=(37.5mm, -2mm, 1.4mm), y_size=4mm, z_size=-1.4mm)
  Box1 [Rogers RT/duroid 6010/6010LM (tm)] = box(corner=(-37.5mm, -25mm, 0mm), size=(75mm, 50mm, 1.4mm))
  Via0 [copper] = cylinder(axis=Z, base_centre=(-7.5mm, 3.5mm, 0mm), radius=0.1mm, height=1.4mm)
  Via1 [copper] = cylinder(axis=Z, base_centre=(-7.5mm, -3.5mm, 0mm), radius=0.1mm, height=1.4mm)
  Via2 [copper] = cylinder(axis=Z, base_centre=(-15mm, 3.5mm, 0mm), radius=0.1mm, height=1.4mm)
  Via3 [copper] = cylinder(axis=Z, base_centre=(-15mm, -3.5mm, 0mm), radius=0.1mm, height=1.4mm)
  Via4 [copper] = cylinder(axis=Z, base_centre=(-22.5mm, 3.5mm, 0mm), radius=0.1mm, height=1.4mm)
  Via5 [copper] = cylinder(axis=Z, base_centre=(-22.5mm, -3.5mm, 0mm), radius=0.1mm, height=1.4mm)
  Via6 [copper] = cylinder(axis=Z, base_centre=(-30mm, 3.5mm, 0mm), radius=0.1mm, height=1.4mm)
  Via7 [copper] = cylinder(axis=Z, base_centre=(-30mm, -3.5mm, 0mm), radius=0.1mm, height=1.4mm)
  Via8 [copper] = cylinder(axis=Z, base_centre=(0mm, 3.5mm, 0mm), radius=0.1mm, height=1.4mm)
  Via9 [copper] = cylinder(axis=Z, base_centre=(0mm, -3.5mm, 0mm), radius=0.1mm, height=1.4mm)
  Via10 [copper] = cylinder(axis=Z, base_centre=(7.5mm, 3.5mm, 0mm), radius=0.1mm, height=1.4mm)
  Via11 [copper] = cylinder(axis=Z, base_centre=(7.5mm, -3.5mm, 0mm), radius=0.1mm, height=1.4mm)
  Via12 [copper] = cylinder(axis=Z, base_centre=(15mm, 3.5mm, 0mm), radius=0.1mm, height=1.4mm)
  Via13 [copper] = cylinder(axis=Z, base_centre=(15mm, -3.5mm, 0mm), radius=0.1mm, height=1.4mm)
  Via14 [copper] = cylinder(axis=Z, base_centre=(22.5mm, 3.5mm, 0mm), radius=0.1mm, height=1.4mm)
  Via15 [copper] = cylinder(axis=Z, base_centre=(22.5mm, -3.5mm, 0mm), radius=0.1mm, height=1.4mm)
  Via16 [copper] = cylinder(axis=Z, base_centre=(30mm, 3.5mm, 0mm), radius=0.1mm, height=1.4mm)
  Via17 [copper] = cylinder(axis=Z, base_centre=(30mm, -3.5mm, 0mm), radius=0.1mm, height=1.4mm)
  Radiation_box [air] = box(corner=(-60mm, -45mm, -10mm), size=(125mm, 90mm, 35mm))
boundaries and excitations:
  PerfE1: Perfect E Objects=Ground_plane
  PerfE2: Perfect E Objects=[Microstrip_line, Top_ground, Top_ground1]
  Rad1: Radiation Objects=Radiation_box
  1: Lumped Port Objects=Port1 LumpedPortType=Modal Modes{Mode1{IntLine{(-37.5, 0, 0) -> (-37.5, 0, 1.4)} CharImp=Zpi RenormImp=50ohm}} Impedance=50ohm
  2: Lumped Port Objects=Port2 LumpedPortType=Modal Modes{Mode1{IntLine{(37.5, 0, 0) -> (37.5, 0, 1.4)} CharImp=Zpi RenormImp=50ohm}} Impedance=50ohm
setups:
  Setup1: HfssDriven Frequency=1GHz MaxDeltaS=0.02 MaximumPasses=6 MinimumPasses=1 MinimumConvergedPasses=1 PercentRefinement=30 BasisOrder=1 PortAccuracy=2 DrivenSolverType="Direct Solver"
    sweep Sweep: 0.1GHz to 1.5GHz, 901 points; Type=Fast SaveFields
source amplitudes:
  1:1: 1V 0deg
  2:1: 0V 0deg
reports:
  S Parameter Plot 1: dB(S(1,1)), dB(S(2,1)), dB(S(1,2)), dB(S(2,2)) vs Freq on Setup1 : Sweep; markers m1 at 1.0862222GHz, m2 at 1.0162222GHz, m3 at 0.95555556GHz

design HFSSDesign1 (HFSS, HFSS Terminal Network, model units mm)
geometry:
  Ground_plane = rectangle(corner=(-37.5mm, -25mm, 0mm), x_size=75mm, y_size=50mm)
  Rectangle1 = rectangle(corner=(-21.5mm, -3mm, 0mm), x_size=43mm, y_size=-1mm)
  Rectangle2 = rectangle(corner=(-21.5mm, 3mm, 0mm), x_size=43mm, y_size=1mm)
  Rectangle3 = rectangle(corner=(-21.5mm, -3mm, 0mm), x_size=1mm, y_size=6mm)
  Ground_plane.subtract(Rectangle1, Rectangle2, Rectangle3)
  Rectangle4 = rectangle(corner=(21.5mm, -4mm, 0mm), x_size=-1mm, y_size=-2mm)
  Rectangle5 = rectangle(corner=(21.5mm, 4mm, 0mm), x_size=-1mm, y_size=2mm)
  Rectangle6 = rectangle(corner=(21.5mm, -6mm, 0mm), x_size=-8mm, y_size=-1mm)
  Rectangle7 = rectangle(corner=(21.5mm, 6mm, 0mm), x_size=-8mm, y_size=1mm)
  Ground_plane.subtract(Rectangle4..Rectangle7)
  Microstrip_line = rectangle(corner=(-37.5mm, -1.25mm, 1.4mm), x_size=75mm, y_size=2.5mm)
  Top_ground = rectangle(corner=(-37.5mm, -25mm, 1.4mm), x_size=75mm, y_size=22.25mm)
  Top_ground1 = rectangle(corner=(-37.5mm, 2.75mm, 1.4mm), x_size=75mm, y_size=22.25mm)
  Port1 = rectangle(corner=(-37.5mm, -2mm, 1.4mm), y_size=4mm, z_size=-1.4mm)
  Port2 = rectangle(corner=(37.5mm, -2mm, 1.4mm), y_size=4mm, z_size=-1.4mm)
  Box1 [gallium_arsenide] = box(corner=(-37.5mm, -25mm, 0mm), size=(75mm, 50mm, 1.4mm))
  Via0 [copper] = cylinder(axis=Z, base_centre=(-7.5mm, 3.5mm, 0mm), radius=0.1mm, height=1.4mm)
  Via1 [copper] = cylinder(axis=Z, base_centre=(-7.5mm, -3.5mm, 0mm), radius=0.1mm, height=1.4mm)
  Via2 [copper] = cylinder(axis=Z, base_centre=(-15mm, 3.5mm, 0mm), radius=0.1mm, height=1.4mm)
  Via3 [copper] = cylinder(axis=Z, base_centre=(-15mm, -3.5mm, 0mm), radius=0.1mm, height=1.4mm)
  Via4 [copper] = cylinder(axis=Z, base_centre=(-22.5mm, 3.5mm, 0mm), radius=0.1mm, height=1.4mm)
  Via5 [copper] = cylinder(axis=Z, base_centre=(-22.5mm, -3.5mm, 0mm), radius=0.1mm, height=1.4mm)
  Via6 [copper] = cylinder(axis=Z, base_centre=(-30mm, 3.5mm, 0mm), radius=0.1mm, height=1.4mm)
  Via7 [copper] = cylinder(axis=Z, base_centre=(-30mm, -3.5mm, 0mm), radius=0.1mm, height=1.4mm)
  Via8 [copper] = cylinder(axis=Z, base_centre=(0mm, 3.5mm, 0mm), radius=0.1mm, height=1.4mm)
  Via9 [copper] = cylinder(axis=Z, base_centre=(0mm, -3.5mm, 0mm), radius=0.1mm, height=1.4mm)
  Via10 [copper] = cylinder(axis=Z, base_centre=(7.5mm, 3.5mm, 0mm), radius=0.1mm, height=1.4mm)
  Via11 [copper] = cylinder(axis=Z, base_centre=(7.5mm, -3.5mm, 0mm), radius=0.1mm, height=1.4mm)
  Via12 [copper] = cylinder(axis=Z, base_centre=(15mm, 3.5mm, 0mm), radius=0.1mm, height=1.4mm)
  Via13 [copper] = cylinder(axis=Z, base_centre=(15mm, -3.5mm, 0mm), radius=0.1mm, height=1.4mm)
  Via14 [copper] = cylinder(axis=Z, base_centre=(22.5mm, 3.5mm, 0mm), radius=0.1mm, height=1.4mm)
  Via15 [copper] = cylinder(axis=Z, base_centre=(22.5mm, -3.5mm, 0mm), radius=0.1mm, height=1.4mm)
  Via16 [copper] = cylinder(axis=Z, base_centre=(30mm, 3.5mm, 0mm), radius=0.1mm, height=1.4mm)
  Via17 [copper] = cylinder(axis=Z, base_centre=(30mm, -3.5mm, 0mm), radius=0.1mm, height=1.4mm)
  Radiation_box [air] = box(corner=(-60mm, -45mm, -10mm), size=(125mm, 90mm, 35mm))
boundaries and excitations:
  PerfE1: Perfect E Objects=Ground_plane
  PerfE2: Perfect E Objects=[Microstrip_line, Top_ground, Top_ground1]
  Rad1: Radiation Objects=Radiation_box
  1: Lumped Port Objects=Port1 LumpedPortType=Modal Modes{Mode1{IntLine{(-37.5, 0, 0) -> (-37.5, 0, 1.4)} CharImp=Zpi RenormImp=50ohm}} Impedance=50ohm
  2: Lumped Port Objects=Port2 LumpedPortType=Modal Modes{Mode1{IntLine{(37.5, 0, 0) -> (37.5, 0, 1.4)} CharImp=Zpi RenormImp=50ohm}} Impedance=50ohm
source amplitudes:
  1:1: 1V 0deg
  2:1: 0V 0deg

design HFSSDesign2 (HFSS, HFSS Terminal Network, model units mm)
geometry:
  Ground_plane = rectangle(corner=(-37.5mm, -25mm, 0mm), x_size=75mm, y_size=50mm)
  Rectangle1 = rectangle(corner=(-7mm, -3mm, 0mm), x_size=14mm, y_size=-1mm)
  Rectangle2 = rectangle(corner=(-7mm, 3mm, 0mm), x_size=14mm, y_size=1mm)
  Rectangle3 = rectangle(corner=(-7mm, -3mm, 0mm), x_size=1mm, y_size=6mm)
  Ground_plane.subtract(Rectangle1, Rectangle2, Rectangle3)
  Rectangle4 = rectangle(corner=(7mm, -4mm, 0mm), x_size=-1mm, y_size=-2mm)
  Rectangle5 = rectangle(corner=(7mm, 4mm, 0mm), x_size=-1mm, y_size=2mm)
  Rectangle6 = rectangle(corner=(7mm, -6mm, 0mm), x_size=-12mm, y_size=-1mm)
  Rectangle7 = rectangle(corner=(7mm, 6mm, 0mm), x_size=-12mm, y_size=1mm)
  Ground_plane.subtract(Rectangle4..Rectangle7)
  Microstrip_line = rectangle(corner=(-37.5mm, -1.25mm, 1.4mm), x_size=75mm, y_size=2.5mm)
  Top_ground = rectangle(corner=(-37.5mm, -25mm, 1.4mm), x_size=75mm, y_size=22.25mm)
  Top_ground1 = rectangle(corner=(-37.5mm, 2.75mm, 1.4mm), x_size=75mm, y_size=22.25mm)
  Port1 = rectangle(corner=(-37.5mm, -2mm, 1.4mm), y_size=4mm, z_size=-1.4mm)
  Port2 = rectangle(corner=(37.5mm, -2mm, 1.4mm), y_size=4mm, z_size=-1.4mm)
  Box1 [diamond] = box(corner=(-37.5mm, -25mm, 0mm), size=(75mm, 50mm, 1.4mm))
  Via0 [copper] = cylinder(axis=Z, base_centre=(-7.5mm, 3.5mm, 0mm), radius=0.1mm, height=1.4mm)
  Via1 [copper] = cylinder(axis=Z, base_centre=(-7.5mm, -3.5mm, 0mm), radius=0.1mm, height=1.4mm)
  Via2 [copper] = cylinder(axis=Z, base_centre=(-15mm, 3.5mm, 0mm), radius=0.1mm, height=1.4mm)
  Via3 [copper] = cylinder(axis=Z, base_centre=(-15mm, -3.5mm, 0mm), radius=0.1mm, height=1.4mm)
  Via4 [copper] = cylinder(axis=Z, base_centre=(-22.5mm, 3.5mm, 0mm), radius=0.1mm, height=1.4mm)
  Via5 [copper] = cylinder(axis=Z, base_centre=(-22.5mm, -3.5mm, 0mm), radius=0.1mm, height=1.4mm)
  Via6 [copper] = cylinder(axis=Z, base_centre=(-30mm, 3.5mm, 0mm), radius=0.1mm, height=1.4mm)
  Via7 [copper] = cylinder(axis=Z, base_centre=(-30mm, -3.5mm, 0mm), radius=0.1mm, height=1.4mm)
  Via8 [copper] = cylinder(axis=Z, base_centre=(0mm, 3.5mm, 0mm), radius=0.1mm, height=1.4mm)
  Via9 [copper] = cylinder(axis=Z, base_centre=(0mm, -3.5mm, 0mm), radius=0.1mm, height=1.4mm)
  Via10 [copper] = cylinder(axis=Z, base_centre=(7.5mm, 3.5mm, 0mm), radius=0.1mm, height=1.4mm)
  Via11 [copper] = cylinder(axis=Z, base_centre=(7.5mm, -3.5mm, 0mm), radius=0.1mm, height=1.4mm)
  Via12 [copper] = cylinder(axis=Z, base_centre=(15mm, 3.5mm, 0mm), radius=0.1mm, height=1.4mm)
  Via13 [copper] = cylinder(axis=Z, base_centre=(15mm, -3.5mm, 0mm), radius=0.1mm, height=1.4mm)
  Via14 [copper] = cylinder(axis=Z, base_centre=(22.5mm, 3.5mm, 0mm), radius=0.1mm, height=1.4mm)
  Via15 [copper] = cylinder(axis=Z, base_centre=(22.5mm, -3.5mm, 0mm), radius=0.1mm, height=1.4mm)
  Via16 [copper] = cylinder(axis=Z, base_centre=(30mm, 3.5mm, 0mm), radius=0.1mm, height=1.4mm)
  Via17 [copper] = cylinder(axis=Z, base_centre=(30mm, -3.5mm, 0mm), radius=0.1mm, height=1.4mm)
  Radiation_box [air] = box(corner=(-60mm, -45mm, -10mm), size=(125mm, 90mm, 35mm))
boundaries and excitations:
  PerfE1: Perfect E Objects=Ground_plane
  PerfE2: Perfect E Objects=[Microstrip_line, Top_ground, Top_ground1]
  Rad1: Radiation Objects=Radiation_box
  1: Lumped Port Objects=Port1 LumpedPortType=Modal Modes{Mode1{IntLine{(-37.5, 0, 0) -> (-37.5, 0, 1.4)} CharImp=Zpi RenormImp=50ohm}} Impedance=50ohm
  2: Lumped Port Objects=Port2 LumpedPortType=Modal Modes{Mode1{IntLine{(37.5, 0, 0) -> (37.5, 0, 1.4)} CharImp=Zpi RenormImp=50ohm}} Impedance=50ohm
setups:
  Setup1: HfssDriven Frequency=1GHz MaxDeltaS=0.02 MaximumPasses=6 MinimumPasses=1 MinimumConvergedPasses=1 PercentRefinement=30 BasisOrder=1 PortAccuracy=2 DrivenSolverType="Direct Solver"
    sweep Sweep: 0.1GHz to 1.5GHz, 901 points; Type=Fast SaveFields
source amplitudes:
  1:1: 1V 0deg
  2:1: 0V 0deg
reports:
  S Parameter Plot 1: dB(S(1,1)), dB(S(2,1)), dB(S(1,2)), dB(S(2,2)) vs Freq on Setup1 : Sweep; markers m1 at 0.68955556GHz, m2 at 0.75955556GHz, m3 at 1.2993333GHz, m4 at 1.4362222GHz
